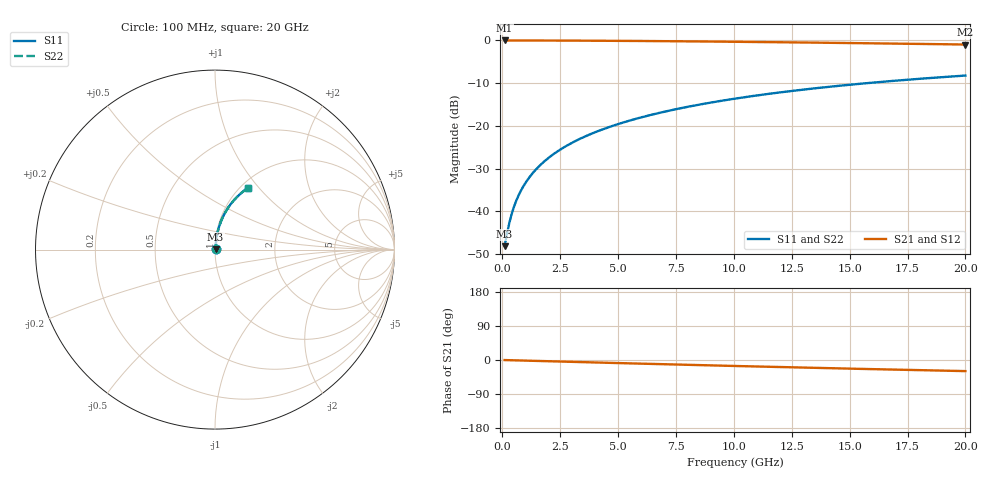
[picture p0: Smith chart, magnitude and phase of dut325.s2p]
! Touchstone file exported from HFSS 2024.1.0
!  File:  C:/UserFiles/LocalFiles/RDL_TSV_Batchsim/temp_RDL_bottom_325_1779611232.aedt
!  Generated:  04:30:00 PM May 24, 2026
!  Design:  RDL_bottom
!  Project:  temp_RDL_bottom_325_1779611232
!  Setup:  Setup1
!  Solution:  Sweep
! Variables:
!  dtsv = 10.80580581um
!  hbump = 3um
!  htsv = 75.79um
!  ldown = 300.39um
!  lrdl = 100um
!  p = 40
!  p1 = 58.94um
!  rhole = 1um
!  t = 450um
!  tdown = 3.16um
!  trdl = 3.915915916um
!  wdown = 10.66um
!  wrdl = 20um
# GHz S MA R 50.000000
! Terminal data exported
! Port[1] = RDL1_T1
! Port[2] = RDL1_T2
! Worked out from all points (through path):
!   200 points, 100 MHz to 20 GHz, reference 50 ohm
!   highest |S21| = -0.03 dB at 100 MHz (marker M1); lowest = -1.0 dB at 20 GHz (marker M2)
!   group delay of S21, straight-line fit = 4.07 ps
!   lowest |S11| = -48.1 dB at 100 MHz (marker M3), VSWR 1.01, Z = 50.3 + j0.216 ohm
!   |S11| at or under -10 dB: start of sweep to 15.77 GHz
!   |S22| runs from -48.1 to -8.2 dB; largest |S21 - S12| = 1.9e-15
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0.1  0.003921 33.2  0.9967 -0.2  0.9967 -0.2  0.003921 33.3
! Gamma 0 0 0 0
! Port Impedance 50 0 50 0
0.2  0.005425 52.3  0.9967 -0.3  0.9967 -0.3  0.005425 52.3
0.3  0.00726 62.3  0.9966 -0.5  0.9966 -0.5  0.00726 62.3
0.4  0.009222 68.1  0.9966 -0.7  0.9966 -0.7  0.009222 68.1
0.5  0.01124 71.7  0.9965 -0.8  0.9965 -0.8  0.01124 71.7
0.6  0.01328 74.2  0.9964 -1.0  0.9964 -1.0  0.01328 74.2
0.8  0.01739 77.3  0.9962 -1.3  0.9962 -1.3  0.01739 77.3
1.1  0.02359 79.8  0.9959 -1.8  0.9959 -1.8  0.02359 79.8
1.5  0.03188 81.4  0.9954 -2.5  0.9954 -2.5  0.03188 81.4
1.8  0.03812 82.1  0.995 -3.0  0.995 -3.0  0.03812 82.1
2.1  0.04437 82.4  0.9945 -3.4  0.9945 -3.4  0.04437 82.4
2.7  0.05688 82.6  0.9933 -4.4  0.9933 -4.4  0.05688 82.7
3.5  0.07359 82.4  0.9914 -5.7  0.9914 -5.7  0.07359 82.4
4.2  0.08821 81.9  0.9893 -6.8  0.9893 -6.8  0.08821 81.9
5  0.1049 81.2  0.9866 -8.1  0.9866 -8.1  0.1049 81.2
5.9  0.1236 80.3  0.983 -9.5  0.983 -9.5  0.1236 80.3
6.8  0.1422 79.2  0.9791 -10.9  0.9791 -10.9  0.1422 79.2
8.3  0.173 77.3  0.9717 -13.2  0.9717 -13.2  0.173 77.4
10.1  0.2092 75.0  0.9618 -15.9  0.9618 -15.9  0.2092 75.0
13.4  0.2729 70.6  0.941 -20.6  0.941 -20.6  0.273 70.6
16.7  0.3325 66.2  0.9179 -25.1  0.9179 -25.1  0.3326 66.2
20  0.3874 62.0  0.8933 -29.3  0.8933 -29.3  0.3874 62.0
